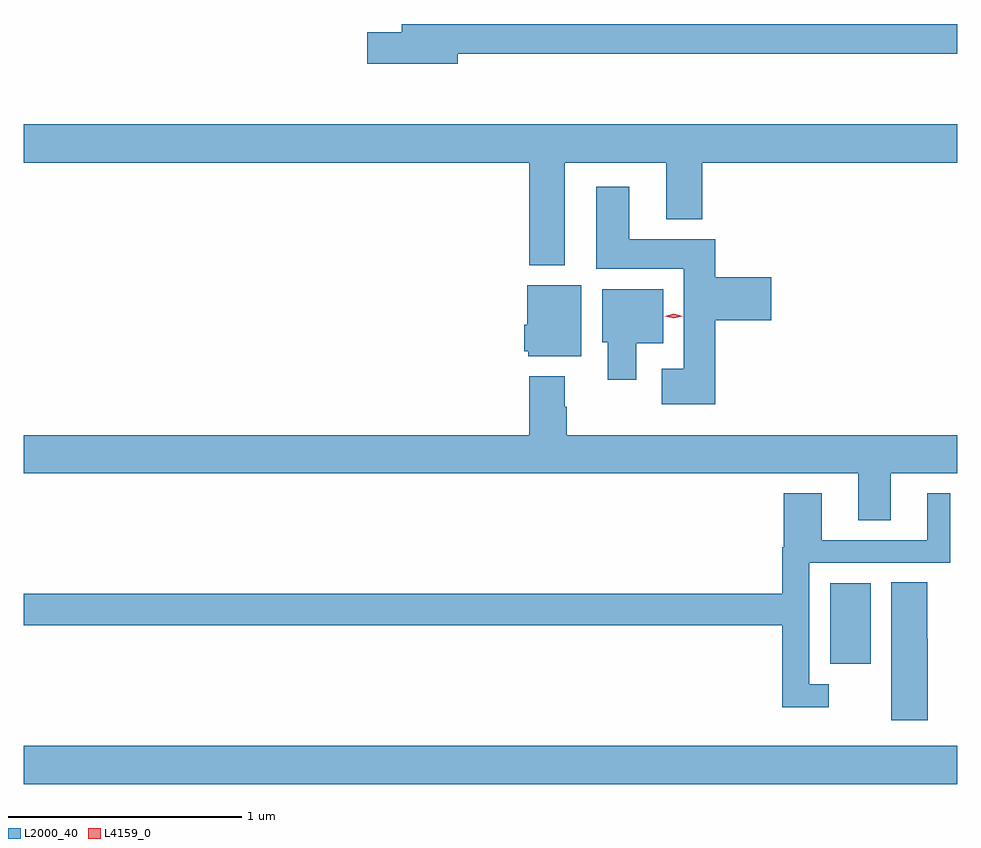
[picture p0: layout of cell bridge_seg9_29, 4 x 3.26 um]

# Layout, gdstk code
import gdstk
lib = gdstk.Library(unit=1e-6, precision=1e-09)
def R(c, l, rs):  # rectangles x0, y0, x1, y1
    for r in rs: c.add(gdstk.rectangle(r[:2], r[2:], *l))
def P(c, l, *ps):  # polygons
    for p in ps: c.add(gdstk.Polygon(p, *l))
L2000_40 = (2000, 40)
L4159_0 = (4159, 0)

bridge_seg9_29 = lib.new_cell('bridge_seg9_29')
R(bridge_seg9_29, L2000_40, [(1007.243,1225.724,1011.243,1225.888), (1010.699,1226.24,1010.872,1226.584)])
P(bridge_seg9_29, L2000_40, [(1009.102,1228.854),(1011.243,1228.854),(1011.243,1228.982),(1008.863,1228.982),(1008.863,1228.946),(1008.714,1228.946),(1008.714,1228.811),(1009.102,1228.811)],
  [(1009.561,1228.388),(1009.997,1228.388),(1009.997,1228.145),(1010.15,1228.145),(1010.15,1228.388),(1011.243,1228.388),(1011.243,1228.552),(1007.243,1228.552),(1007.243,1228.388),(1009.409,1228.388),(1009.409,1227.947),(1009.561,1227.947)],
  [(1010.207,1227.713),(1010.446,1227.713),(1010.446,1227.896),(1010.207,1227.896),(1010.207,1228.06),(1009.837,1228.06),(1009.837,1228.285),(1009.697,1228.285),(1009.697,1227.932),(1010.072,1227.932),(1010.072,1227.505),(1009.977,1227.505),(1009.977,1227.353),(1010.207,1227.353)],
  [(1009.633,1227.862),(1009.4,1227.862),(1009.4,1227.693),(1009.388,1227.693),(1009.388,1227.579),(1009.404,1227.579),(1009.404,1227.557),(1009.633,1227.557)],
  [(1009.867,1227.614),(1009.984,1227.614),(1009.984,1227.844),(1009.721,1227.844),(1009.721,1227.618),(1009.745,1227.618),(1009.745,1227.456),(1009.867,1227.456)],
  [(1010.959,1227.056),(1011.243,1227.056),(1011.243,1227.22),(1009.569,1227.22),(1009.569,1227.341),(1009.561,1227.341),(1009.561,1227.472),(1009.409,1227.472),(1009.409,1227.22),(1007.243,1227.22),(1007.243,1227.056),(1010.819,1227.056),(1010.819,1226.854),(1010.959,1226.854)],
  [(1010.692,1226.151),(1010.61,1226.151),(1010.61,1226.673),(1011.214,1226.673),(1011.214,1226.971),(1011.116,1226.971),(1011.116,1226.769),(1010.662,1226.769),(1010.662,1226.971),(1010.501,1226.971),(1010.501,1226.738),(1010.494,1226.738),(1010.494,1226.54),(1007.243,1226.54),(1007.243,1226.404),(1010.494,1226.404),(1010.494,1226.054),(1010.692,1226.054)],
  [(1011.118,1226.346),(1011.115,1226.346),(1011.115,1226.588),(1010.96,1226.588),(1010.96,1225.998),(1011.118,1225.998)])
P(bridge_seg9_29, L4159_0, [(1010.028,1227.72),(1009.989,1227.73),(1009.989,1227.73),(1009.989,1227.73),(1010.028,1227.74),(1010.067,1227.73),(1010.067,1227.73),(1010.067,1227.73)])

lib.write_gds('bridge_seg9_29.gds')
